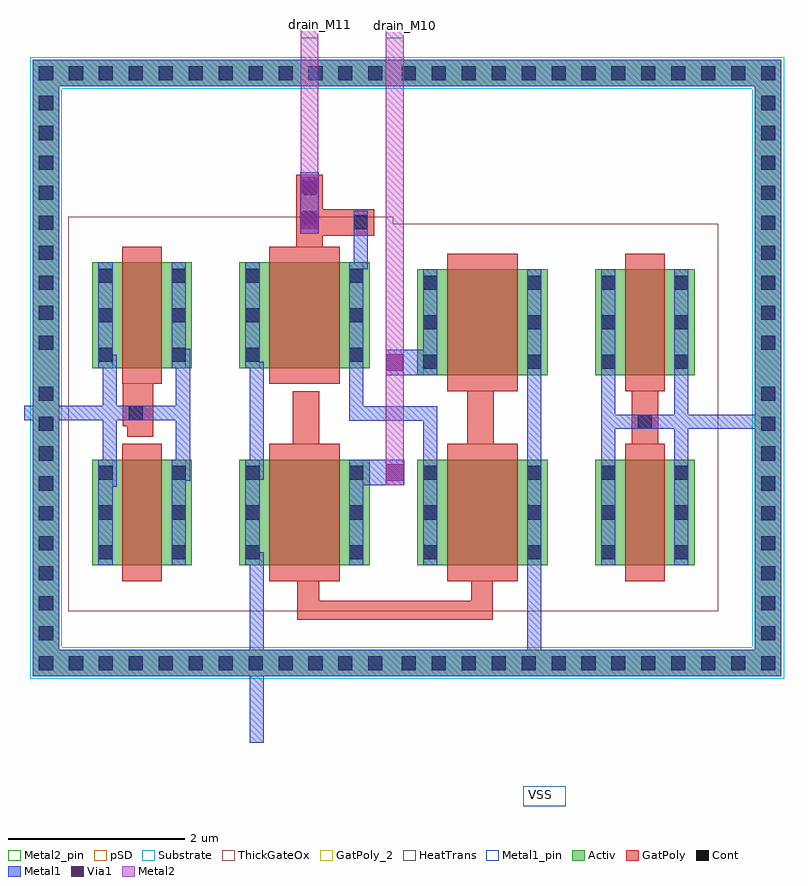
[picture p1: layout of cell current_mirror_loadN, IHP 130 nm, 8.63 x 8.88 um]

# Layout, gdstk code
from math import pi, radians
import gdstk
lib = gdstk.Library(unit=1e-6, precision=5e-09)
def R(c, l, rs):  # rectangles x0, y0, x1, y1
    for r in rs: c.add(gdstk.rectangle(r[:2], r[2:], *l))
def A(c, l, x, y, w, h, nx, ny, dx, dy):  # array of equal rectangles
    R(c, l, [(x+i*dx, y+j*dy, x+i*dx+w, y+j*dy+h) for i in range(nx) for j in range(ny)])
def P(c, l, *ps):  # polygons
    for p in ps: c.add(gdstk.Polygon(p, *l))
Activ = (1, 0)
GatPoly = (5, 0)
GatPoly_2 = (5, 2)
Cont = (6, 0)
Metal1 = (8, 0)
Metal1_pin = (8, 2)
Metal2 = (10, 0)
Metal2_pin = (10, 2)
pSD = (14, 0)
Via1 = (19, 0)
Substrate = (40, 0)
ThickGateOx = (44, 0)
HeatTrans = (51, 0)

nmoshv_4 = lib.new_cell('nmosHV$4')
R(nmoshv_4, Activ, [(0,0,0.3,0.3), (0,0,1.48,1.2), (1.18,0,1.48,0.3)])
R(nmoshv_4, GatPoly, [(0.34,-0.18,1.14,1.38)])
R(nmoshv_4, GatPoly_2, [(0.34,-0.18,1.14,1.38)])
A(nmoshv_4, Cont, 0.07, 0.07, 0.16, 0.16, 1, 3, 0, 0.45)
A(nmoshv_4, Cont, 1.25, 0.07, 0.16, 0.16, 1, 3, 0, 0.45)
R(nmoshv_4, Metal1, [(0.07,0,0.23,1.2), (1.25,0,1.41,1.2)])
R(nmoshv_4, Metal1_pin, [(0.07,0,0.23,1.2), (1.25,0,1.41,1.2)])
R(nmoshv_4, ThickGateOx, [(-0.27,-0.52,1.75,1.72)])
R(nmoshv_4, HeatTrans, [(0.34,-0.18,1.14,1.38)])
nmoshv_4.add(gdstk.Label('nmosHV', (0.74,0.6), layer=63, texttype=0))
nmoshv_4.add(gdstk.Label('nmosHV', (0.74,0.6), layer=51, texttype=0))

nmoshv_6 = lib.new_cell('nmosHV$6')
R(nmoshv_6, Activ, [(0,0,0.3,0.3), (0,0,1.13,1.2), (0.83,0,1.13,0.3)])
R(nmoshv_6, GatPoly, [(0.34,-0.18,0.79,1.38)])
R(nmoshv_6, GatPoly_2, [(0.34,-0.18,0.79,1.38)])
A(nmoshv_6, Cont, 0.07, 0.07, 0.16, 0.16, 1, 3, 0, 0.45)
A(nmoshv_6, Cont, 0.9, 0.07, 0.16, 0.16, 1, 3, 0, 0.45)
R(nmoshv_6, Metal1, [(0.07,0,0.23,1.2), (0.9,0,1.06,1.2)])
R(nmoshv_6, Metal1_pin, [(0.07,0,0.23,1.2), (0.9,0,1.06,1.2)])
R(nmoshv_6, ThickGateOx, [(-0.27,-0.52,1.4,1.72)])
R(nmoshv_6, HeatTrans, [(0.34,-0.18,0.79,1.38)])
nmoshv_6.add(gdstk.Label('nmosHV', (0.565,0.6), layer=63, texttype=0))
nmoshv_6.add(gdstk.Label('nmosHV', (0.565,0.6), layer=51, texttype=0))

via_stack = lib.new_cell('via_stack')
R(via_stack, Metal1, [(-0.145,-0.105,0.145,0.105)])
R(via_stack, Metal2, [(-0.145,-0.1,0.145,0.1)])
R(via_stack, Via1, [(-0.095,-0.095,0.095,0.095)])

via_stack_5 = lib.new_cell('via_stack$5')
R(via_stack_5, GatPoly, [(-0.15,-0.15,0.15,0.15)])
R(via_stack_5, Cont, [(-0.08,-0.08,0.08,0.08)])
R(via_stack_5, Metal1, [(-0.13,-0.08,0.13,0.08)])

via_stack_3 = lib.new_cell('via_stack$3')
R(via_stack_3, GatPoly, [(-0.32,-0.15,0.32,0.15)])
R(via_stack_3, Cont, [(-0.25,-0.08,-0.09,0.08), (0.09,-0.08,0.25,0.08)])
R(via_stack_3, Metal1, [(-0.35,-0.105,0.35,0.105)])
R(via_stack_3, Metal2, [(-0.35,-0.1,0.35,0.1)])
R(via_stack_3, Via1, [(-0.3,-0.095,-0.11,0.095), (0.11,-0.095,0.3,0.095)])

guard_ring_7 = lib.new_cell('guard_ring$7')
R(guard_ring_7, Activ, [(-4.25,-3.2,-3.95,3.2), (3.95,-3.2,4.25,3.2), (-4.25,3.2,4.25,3.5)])
P(guard_ring_7, Activ, [(-4.25,-3.5),(-4.25,3.2),(-3.95,3.2),(-3.95,-3.2),(3.95,-3.2),(3.95,3.2),(-4.25,3.2),(-4.25,3.5),(4.25,3.5),(4.25,-3.5)])
A(guard_ring_7, Cont, -4.18, -3.43, 0.16, 0.16, 12, 2, 0.34, 6.7)
A(guard_ring_7, Cont, -0.06, -3.43, 0.16, 0.16, 13, 2, 0.34, 6.7)
A(guard_ring_7, Cont, -4.18, -3.09, 0.16, 0.16, 1, 9, 0, 0.34)
A(guard_ring_7, Cont, 4.02, -3.09, 0.16, 0.16, 1, 9, 0, 0.34)
A(guard_ring_7, Cont, -4.18, 0.21, 0.16, 0.16, 1, 9, 0, 0.34)
A(guard_ring_7, Cont, 4.02, 0.21, 0.16, 0.16, 1, 9, 0, 0.34)
R(guard_ring_7, Metal1, [(-4.25,-3.5,4.25,-3.2), (-4.25,-3.2,-3.95,3.2), (3.95,-3.2,4.25,3.2), (-4.25,3.2,4.25,3.5)])
R(guard_ring_7, pSD, [(-4.28,-3.17,-3.92,3.17), (3.92,-3.17,4.28,3.17), (-4.28,3.17,4.28,3.53)])
P(guard_ring_7, pSD, [(-4.28,-3.53),(-4.28,3.17),(-3.92,3.17),(-3.92,-3.17),(3.92,-3.17),(3.92,3.17),(-4.28,3.17),(-4.28,3.53),(4.28,3.53),(4.28,-3.53)])
R(guard_ring_7, Substrate, [(-4.28,-3.17,-3.92,3.17), (3.92,-3.17,4.28,3.17), (-4.28,3.17,4.28,3.53)])
P(guard_ring_7, Substrate, [(-4.28,-3.53),(-4.28,3.17),(-3.92,3.17),(-3.92,-3.17),(3.92,-3.17),(3.92,3.17),(-4.28,3.17),(-4.28,3.53),(4.28,3.53),(4.28,-3.53)])
guard_ring_7.add(gdstk.Label('sub!', (0,-3.35), layer=63, texttype=0))

current_mirror_loadn = lib.new_cell('current_mirror_loadN')
R(current_mirror_loadn, GatPoly, [(-0.515,-1.78,-0.26,-0.52), (-0.515,-1.78,1.705,-1.565), (1.465,-1.685,1.705,-0.62), (-0.565,0.215,-0.265,0.815), (1.42,0.215,1.72,0.815), (3.285,0.215,3.585,0.815), (3.285,0.215,3.585,0.815), (-2.445,0.295,-2.145,1.68), (-2.495,0.465,-2.195,0.895), (-0.525,2.375,-0.225,3.27), (-0.525,2.58,0.36,2.88)])
R(current_mirror_loadn, Metal1, [(-1.05,-3.18,-0.89,-1.015), (2.1,-2.125,2.26,-1.165), (-2.72,-0.275,-2.56,1.225), (0.92,-0.275,1.08,0.64), (2.94,-0.275,3.1,1.225), (3.77,-0.275,3.93,1.225), (0.13,-0.255,0.7,0.035), (-1.89,-0.205,-1.73,1.295), (-1.05,-0.195,-0.89,1.145), (2.1,-0.035,2.26,0.995), (2.94,0.385,3.585,0.545), (3.21,0.385,4.985,0.545), (0.08,0.475,1.08,0.64), (-3.615,0.485,-1.83,0.645), (0.495,0.995,1.08,1.285), (0.13,2.195,0.29,2.7)])
P(current_mirror_loadn, Metal1, [(0.08,0.64),(0.08,1.225),(0.24,1.225),(0.24,0.835),(0.24,0.77),(0.24,0.64)])
R(current_mirror_loadn, Metal1_pin, [(2.055,-3.9,2.535,-3.675)])
R(current_mirror_loadn, Metal2, [(0.495,-0.255,0.695,1.285), (0.495,0.995,0.695,4.98), (-0.475,2.6,-0.275,4.985)])
R(current_mirror_loadn, Metal2_pin, [(-0.475,4.82,-0.275,4.985), (0.495,4.82,0.695,4.98)])
current_mirror_loadn.add(gdstk.Reference(nmoshv_4, (0.85,0.995)))
current_mirror_loadn.add(gdstk.Reference(nmoshv_4, (-1.17,1.075)))
current_mirror_loadn.add(gdstk.Reference(nmoshv_6, (2.87,0.995)))
current_mirror_loadn.add(gdstk.Reference(nmoshv_6, (2.87,-1.165)))
current_mirror_loadn.add(gdstk.Reference(nmoshv_6, (-2.84,1.075)))
current_mirror_loadn.add(gdstk.Reference(nmoshv_6, (-2.84,-1.165)))
current_mirror_loadn.add(gdstk.Reference(nmoshv_4, (-1.17,-1.165)))
current_mirror_loadn.add(gdstk.Reference(via_stack, (0.595,-0.11), rotation=3*pi/2))
current_mirror_loadn.add(gdstk.Reference(nmoshv_4, (0.85,-1.165)))
current_mirror_loadn.add(gdstk.Reference(via_stack_5, (3.435,0.465)))
current_mirror_loadn.add(gdstk.Reference(via_stack_5, (-2.345,0.565)))
current_mirror_loadn.add(gdstk.Reference(via_stack, (0.595,1.14), rotation=3*pi/2))
current_mirror_loadn.add(gdstk.Reference(via_stack_5, (0.21,2.73), rotation=3*pi/2))
current_mirror_loadn.add(gdstk.Reference(via_stack_3, (-0.375,2.95), rotation=3*pi/2))
current_mirror_loadn.add(gdstk.Reference(guard_ring_7, (0.735,1.075)))
current_mirror_loadn.add(gdstk.Label('VSS', (2.25,-3.77), layer=8, texttype=0))
current_mirror_loadn.add(gdstk.Label('drain_M11', (-0.245,4.975), layer=10, texttype=0))
current_mirror_loadn.add(gdstk.Label('drain_M10', (0.72,4.965), layer=10, texttype=0))

lib.write_gds('current_mirror_loadN.gds')
